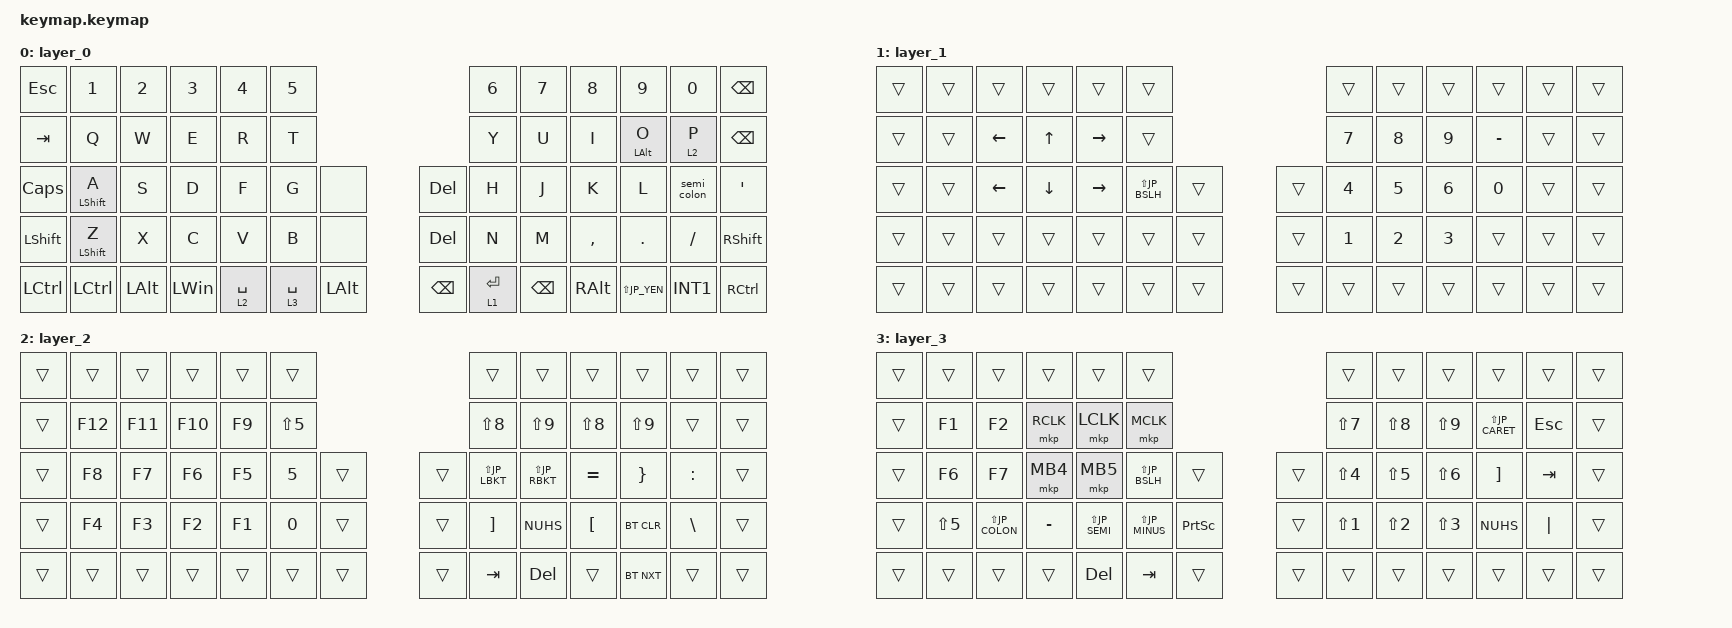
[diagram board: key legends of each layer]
#include <behaviors.dtsi>
#include <dt-bindings/zmk/bt.h>
#include <dt-bindings/zmk/keys.h>
#include <dt-bindings/zmk/outputs.h>
#include <dt-bindings/zmk/pointing.h>

/* JIS Key Aliases */
#define JP_ZKHK  GRAVE
#define JP_MINUS MINUS
#define JP_CARET EQUAL
#define JP_YEN   INT3
#define JP_AT    LBKT
#define JP_LBKT  RBKT
#define JP_EISU  CAPS
#define JP_SEMI  SEMI
#define JP_COLON SQT
#define JP_RBKT  NUHS
#define JP_COMMA COMMA
#define JP_DOT   DOT
#define JP_SLASH SLASH
#define JP_BSLH  INT1
#define JP_MHEN  INT5
#define JP_HENK  INT4
#define JP_KANA  INT2
#define JP_EXCL  LS(N1)
#define JP_DQT   LS(N2)
#define JP_HASH  LS(N3)
#define JP_DLLR  LS(N4)
#define JP_PRCNT LS(N5)
#define JP_AMPS  LS(N6)
#define JP_SQT   LS(N7)
#define JP_LPAR  LS(N8)
#define JP_RPAR  LS(N9)
#define JP_EQUAL LS(JP_MINUS)
#define JP_TILDE LS(JP_CARET)
#define JP_PIPE  LS(JP_YEN)
#define JP_GRAVE LS(JP_AT)
#define JP_LBRC  LS(JP_LBKT)
#define JP_CAPS  LS(JP_EISU)
#define JP_PLUS  LS(JP_SEMI)
#define JP_ASTRK LS(JP_COLON)
#define JP_RBRC  LS(JP_RBKT)
#define JP_LT    LS(JP_COMMA)
#define JP_RT    LS(JP_DOT)
#define JP_QMARK LS(JP_SLASH)
#define JP_UNDER LS(JP_BSLH)
#define JP_EQUA  LS(JP_EQUAL)


/ {
    behaviors {
        semi_colon: semi_colon {
            compatible = "zmk,behavior-mod-morph";
            #binding-cells = <0>;
            bindings = <&kp JP_SEMI>, <&kp JP_COLON>;
            mods = <(MOD_LSFT|MOD_RSFT)>;
        };

        mt2: mod_tap2 {
            compatible = "zmk,behavior-hold-tap";
            #binding-cells = <2>;
            flavor = "tap-preferred";
            tapping-term-ms = <200>;
            quick-tap-ms = <200>;
            require-prior-idle-ms = <125>;
            bindings = <&kp>, <&kp>;
        };
    };

    combos {
        compatible = "zmk,combos";
        COMBO_ESC {
            bindings = <&kp JP_ZKHK>;
            key-positions = <13 14>;
        };

        COMBO_JPAT {
            bindings = <&kp JP_AT>;
            key-positions = <21 22>;
        };

        COMBO_TAB {
            bindings = <&kp TAB>;
            key-positions = <25 26>;
        };

        COMBO_JP_PIPE {
            bindings = <&kp ESCAPE>;
            key-positions = <35 36>;
        };

    };

    keymap {
        compatible = "zmk,keymap";

        layer_0 {
            bindings = <
&kp ESC    &kp N1                 &kp N2    &kp N3    &kp N4       &kp N5                                            &kp N6       &kp N7    &kp N8     &kp N9       &kp N0           &kp BSPC
&kp TAB    &kp Q                  &kp W     &kp E     &kp R        &kp T                                             &kp Y        &kp U     &kp I      &mt2 LALT O  &lt 2 P          &kp BSPC
&kp CAPS   &mt2 LEFT_SHIFT A      &kp S     &kp D     &kp F        &kp G        &none                      &kp DEL   &kp H        &kp J     &kp K      &kp L        &semi_colon      &kp SQT
&kp LSHFT  &mt2 LEFT_SHIFT Z      &kp X     &kp C     &kp V        &kp B        &none                      &kp DEL   &kp N        &kp M     &kp COMMA  &kp PERIOD   &kp SLASH        &kp RSHFT
&kp LCTRL  &kp LCTRL              &kp LALT  &kp LWIN  &lt 2 SPACE  &lt 3 SPACE  &kp LALT                   &kp BSPC  &lt 1 RET    &kp BSPC  &kp RALT   &kp JP_PIPE  &kp JP_BSLH     &kp RCTRL
            >;
        };

        layer_1 {
            bindings = <
&trans  &trans  &trans   &trans   &trans     &trans                        &trans  &trans     &trans     &trans        &trans  &trans
&trans  &trans  &kp LEFT &kp UP   &kp RIGHT  &trans                        &kp N7  &kp N8     &kp N9     &kp JP_MINUS  &trans  &trans
&trans  &trans  &kp LEFT &kp DOWN &kp RIGHT  &kp JP_UNDER  &trans  &trans  &kp N4  &kp N5     &kp N6     &kp N0        &trans  &trans
&trans  &trans  &trans   &trans   &trans     &trans        &trans  &trans  &kp N1  &kp N2     &kp N3     &trans        &trans  &trans
&trans  &trans  &trans  &trans     &trans     &trans       &trans  &trans  &trans  &trans     &trans     &trans        &trans  &trans
            >;
        };

        layer_2 {
            bindings = <
&trans  &trans            &trans            &trans      &trans      &trans                      &trans          &trans         &trans            &trans             &trans         &trans
&trans  &kp F12           &kp F11           &kp F10     &kp F9      &kp LS(N5)                  &kp JP_LPAR     &kp JP_RPAR    &kp LS(N8)        &kp LS(N9)         &trans         &trans
&trans  &kp F8            &kp F7            &kp F6      &kp F5      &kp N5      &trans  &trans  &kp JP_LBRC     &kp JP_RBRC    &kp EQUAL         &kp RIGHT_BRACE    &kp COLON      &trans
&trans  &kp F4            &kp F3            &kp F2      &kp F1      &kp N0      &trans  &trans  &kp JP_LBKT     &kp JP_RBKT    &kp LEFT_BRACKET  &bt BT_CLR         &kp BACKSLASH  &trans
&trans  &trans            &trans            &trans      &trans      &trans      &trans  &trans  &kp TAB         &kp DEL        &trans            &bt BT_NXT             &trans         &trans
            >;
        };

        layer_3 {
            bindings = <
&trans  &trans        &trans        &trans        &trans        &trans                                 &trans       &trans         &trans       &trans        &trans      &trans
&trans  &kp F1        &kp F2        &mkp RCLK     &mkp LCLK     &mkp MCLK                              &kp JP_SQT   &kp JP_LPAR    &kp JP_RPAR  &kp JP_TILDE  &kp ESCAPE  &trans
&trans  &kp F6        &kp F7        &mkp MB4      &mkp MB5      &kp JP_UNDER   &trans           &trans  &kp JP_DLLR  &kp JP_PRCNT   &kp JP_AMPS  &kp JP_LBKT   &kp TAB     &trans
&trans  &kp JP_PRCNT  &kp JP_ASTRK  &kp JP_MINUS  &kp JP_PLUS   &kp JP_EQUAL  &kp PRINTSCREEN  &trans  &kp JP_EXCL  &kp JP_DQT     &kp JP_HASH  &kp JP_RBKT   &kp PIPE    &trans
&trans  &trans        &trans        &trans        &kp DELETE    &kp TAB       &trans           &trans  &trans       &trans         &trans       &trans        &trans      &trans
            >;
        };
    };
};
